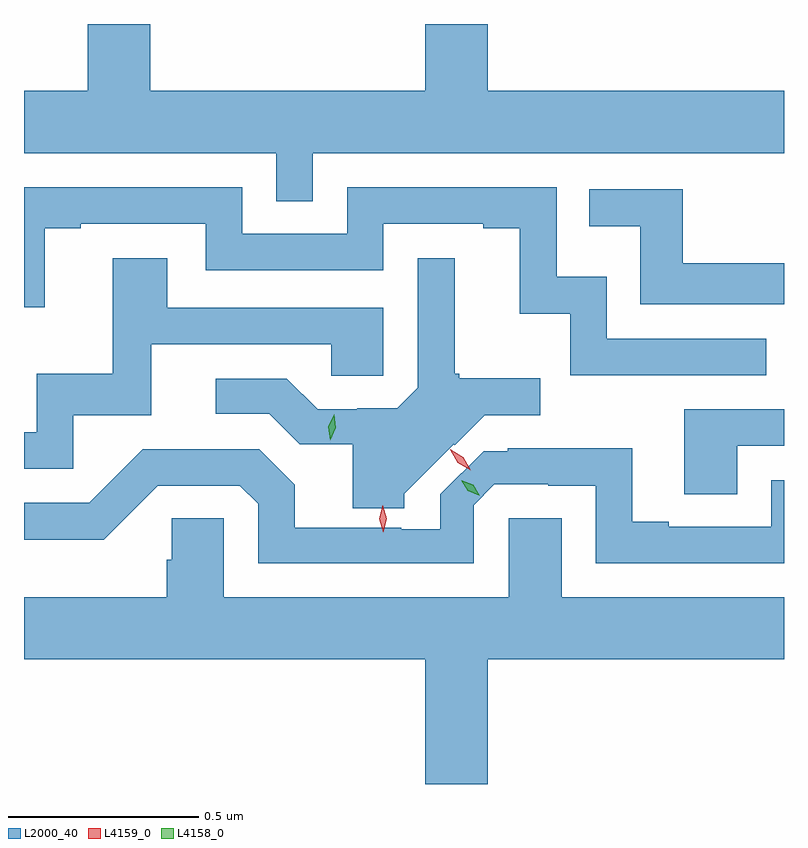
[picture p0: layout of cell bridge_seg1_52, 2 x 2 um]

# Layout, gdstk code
import gdstk
lib = gdstk.Library(unit=1e-6, precision=1e-09)
def P(c, l, *ps):  # polygons
    for p in ps: c.add(gdstk.Polygon(p, *l))
L2000_40 = (2000, 40)
L4158_0 = (4158, 0)
L4159_0 = (4159, 0)

bridge_seg1_52 = lib.new_cell('bridge_seg1_52')
P(bridge_seg1_52, L2000_40, [(1087.788,555.728),(1089.028,555.728),(1089.028,555.892),(1088.248,555.892),(1088.248,556.068),(1088.084,556.068),(1088.084,555.892),(1087.36,555.892),(1087.36,556.068),(1087.196,556.068),(1087.196,555.892),(1087.028,555.892),(1087.028,555.728),(1087.692,555.728),(1087.692,555.601),(1087.788,555.601)],
  [(1088.981,555.24),(1088.562,555.24),(1088.562,555.403),(1088.43,555.403),(1088.43,555.639),(1087.878,555.639),(1087.878,555.516),(1087.602,555.516),(1087.602,555.639),(1087.028,555.639),(1087.028,555.323),(1087.082,555.323),(1087.082,555.531),(1087.177,555.531),(1087.177,555.543),(1087.506,555.543),(1087.506,555.42),(1087.974,555.42),(1087.974,555.543),(1088.237,555.543),(1088.237,555.531),(1088.333,555.531),(1088.333,555.305),(1088.466,555.305),(1088.466,555.144),(1088.981,555.144)],
  [(1089.028,555.439),(1088.761,555.439),(1088.761,555.633),(1088.515,555.633),(1088.515,555.536),(1088.65,555.536),(1088.65,555.33),(1089.028,555.33)],
  [(1087.158,555.039),(1087.363,555.039),(1087.363,555.225),(1087.837,555.225),(1087.837,555.142),(1087.974,555.142),(1087.974,555.321),(1087.405,555.321),(1087.405,555.451),(1087.261,555.451),(1087.261,555.148),(1087.062,555.148),(1087.062,554.994),(1087.028,554.994),(1087.028,554.898),(1087.158,554.898)],
  [(1088.029,554.832),(1088.159,554.962),(1088.162,554.96),(1088.241,555.039),(1088.386,555.039),(1088.386,555.136),(1088.173,555.136),(1088.173,555.148),(1088.161,555.148),(1088.161,555.451),(1088.064,555.451),(1088.064,555.111),(1088.01,555.057),(1087.905,555.057),(1087.905,555.054),(1087.801,555.054),(1087.72,555.135),(1087.533,555.135),(1087.533,555.042),(1087.674,555.042),(1087.754,554.962),(1087.893,554.962),(1087.893,554.794),(1088.029,554.794)],
  [(1088.905,554.958),(1089.028,554.958),(1089.028,555.054),(1088.765,555.054),(1088.765,554.83),(1088.905,554.83)],
  [(1088.211,554.802),(1088.266,554.857),(1088.407,554.857),(1088.407,554.853),(1088.532,554.853),(1088.532,554.649),(1089.028,554.649),(1089.028,554.868),(1088.994,554.868),(1088.994,554.745),(1088.725,554.745),(1088.725,554.758),(1088.629,554.758),(1088.629,554.951),(1088.301,554.951),(1088.301,554.944),(1088.238,554.944),(1088.124,554.83),(1088.124,554.738),(1088.021,554.738),(1088.021,554.742),(1087.741,554.742),(1087.741,554.855),(1087.647,554.949),(1087.341,554.949),(1087.2,554.808),(1087.028,554.808),(1087.028,554.711),(1087.238,554.711),(1087.38,554.853),(1087.596,554.853),(1087.644,554.805),(1087.644,554.649),(1088.211,554.649)],
  [(1088.248,554.396),(1089.028,554.396),(1089.028,554.56),(1088.443,554.56),(1088.443,554.768),(1088.303,554.768),(1088.303,554.56),(1087.554,554.56),(1087.554,554.768),(1087.417,554.768),(1087.417,554.658),(1087.403,554.658),(1087.403,554.56),(1087.028,554.56),(1087.028,554.396),(1088.084,554.396),(1088.084,554.068),(1088.248,554.068)])
P(bridge_seg1_52, L4158_0, [(1087.834,554.972),(1087.834,554.972),(1087.829,555.008),(1087.844,555.041),(1087.844,555.041),(1087.845,555.041),(1087.849,555.005),(1087.834,554.972)],
  [(1088.227,554.827),(1088.196,554.84),(1088.179,554.868),(1088.179,554.868),(1088.179,554.868),(1088.21,554.855),(1088.227,554.827),(1088.227,554.827)])
P(bridge_seg1_52, L4159_0, [(1088.203,554.894),(1088.169,554.914),(1088.15,554.948),(1088.15,554.949),(1088.15,554.949),(1088.184,554.928),(1088.204,554.894),(1088.204,554.894)],
  [(1087.974,554.73),(1087.974,554.73),(1087.963,554.766),(1087.972,554.802),(1087.972,554.802),(1087.972,554.802),(1087.983,554.766),(1087.974,554.73)])

lib.write_gds('bridge_seg1_52.gds')
